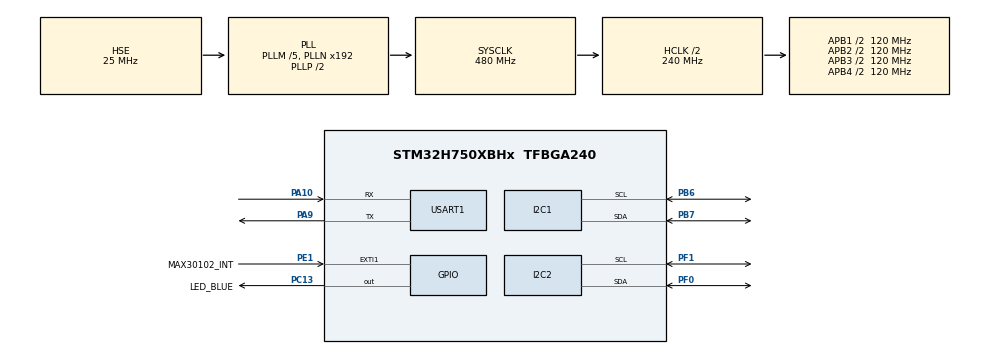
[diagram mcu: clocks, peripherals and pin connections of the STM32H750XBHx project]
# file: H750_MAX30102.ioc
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I2C1.Timing=0x307075B1
I2C2.Timing=0x307075B1
Mcu.Family=STM32H7
Mcu.Name=STM32H750XBHx
Mcu.Package=TFBGA240
NVIC.EXTI1_IRQn=true\:1\:0\:true\:false\:true\:true\:true\:true
NVIC.I2C1_ER_IRQn=true\:2\:0\:true\:false\:true\:true\:true\:true
NVIC.I2C2_ER_IRQn=true\:2\:0\:true\:false\:true\:true\:true\:true
NVIC.PriorityGroup=NVIC_PRIORITYGROUP_4
NVIC.TIM3_IRQn=true\:4\:0\:true\:false\:true\:true\:true\:true
NVIC.USART1_IRQn=true\:3\:0\:true\:false\:true\:true\:true\:true
PA10.Mode=Asynchronous
PA10.Signal=USART1_RX
PA13\ (JTMS/SWDIO).Mode=Serial_Wire
PA13\ (JTMS/SWDIO).Signal=DEBUG_JTMS-SWDIO
PA14\ (JTCK/SWCLK).Mode=Serial_Wire
PA14\ (JTCK/SWCLK).Signal=DEBUG_JTCK-SWCLK
PA9.Mode=Asynchronous
PA9.Signal=USART1_TX
PB6.Mode=I2C
PB6.Signal=I2C1_SCL
PB7.Mode=I2C
PB7.Signal=I2C1_SDA
PC13.GPIO_Label=LED_BLUE
PC13.GPIO_PuPd=GPIO_PULLDOWN
PC13.Signal=GPIO_Output
PE1.GPIO_Label=MAX30102_INT
PE1.GPIO_ModeDefaultEXTI=GPIO_MODE_IT_FALLING
PE1.GPIO_PuPd=GPIO_PULLUP
PE1.Signal=GPXTI1
PF0.Mode=I2C
PF0.Signal=I2C2_SDA
PF1.Mode=I2C
PF1.Signal=I2C2_SCL
PH0-OSC_IN\ (PH0).Mode=HSE-External-Oscillator
PH0-OSC_IN\ (PH0).Signal=RCC_OSC_IN
PH1-OSC_OUT\ (PH1).Mode=HSE-External-Oscillator
PH1-OSC_OUT\ (PH1).Signal=RCC_OSC_OUT
ProjectManager.HeapSize=0x800
ProjectManager.StackSize=0x1000
ProjectManager.TargetToolchain=MDK-ARM V5.32
RCC.ADCFreq_Value=50390625
RCC.APB1Freq_Value=120000000
RCC.APB2Freq_Value=120000000
RCC.APB3Freq_Value=120000000
RCC.APB4Freq_Value=120000000
RCC.CortexFreq_Value=480000000
RCC.D1PPRE=RCC_APB3_DIV2
RCC.D2PPRE1=RCC_APB1_DIV2
RCC.D2PPRE2=RCC_APB2_DIV2
RCC.D3PPRE=RCC_APB4_DIV2
RCC.DIVM1=5
RCC.DIVN1=192
RCC.HCLKFreq_Value=240000000
RCC.HPRE=RCC_HCLK_DIV2
RCC.PLLFRACN=0
RCC.PLLSourceVirtual=RCC_PLLSOURCE_HSE
RCC.PWR_Regulator_Voltage_Scale=PWR_REGULATOR_VOLTAGE_SCALE0
RCC.ProductRev=revV
RCC.SYSCLKFreq_VALUE=480000000
RCC.SYSCLKSource=RCC_SYSCLKSOURCE_PLLCLK
RCC.USBFreq_Value=480000000
TIM3.Period=1000-1
TIM3.Prescaler=240-1
USART1.VirtualMode-Asynchronous=VM_ASYNC
VP_TIM3_VS_ClockSourceINT.Mode=Internal
board=custom

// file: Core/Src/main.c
/* USER CODE BEGIN Header */
/**
  ******************************************************************************
  * @file           : main.c
  * @brief          : Main program body
  ******************************************************************************
  * @attention
  *
  * Copyright (c) 2023 STMicroelectronics.
  * All rights reserved.
  *
  * This software is licensed under terms that can be found in the LICENSE file
  * in the root directory of this software component.
  * If no LICENSE file comes with this software, it is provided AS-IS.
  *
  ******************************************************************************
  */
/* USER CODE END Header */
#include "main.h"
#include "i2c.h"
#include "tim.h"
#include "usart.h"
#include "gpio.h"

/* USER CODE BEGIN Includes */

#include "max30102_for_stm32_hal.h"
#include "oled_i2c.h"
#include "ring_buffer.h"
#include "algorithm_by_RF.h"

/* USER CODE END Includes */

/* USER CODE BEGIN PV */

max30102_t max30102;
RingBuff_t ringBuffer_ir, ringBuffer_red;
calculated_data_t cal_data = {0, 0, 0, 0, 0, 0};
uint8_t buff_not_full_count = 0;

/* USER CODE END PV */

void SystemClock_Config(void);
/* USER CODE BEGIN PFP */

// Override plot function
void max30102_plot(uint32_t ir_sample, uint32_t red_sample)
{
  RingBuff_Write(&ringBuffer_ir, ir_sample);
  RingBuff_Write(&ringBuffer_red, red_sample);
#if SENSOR_DATA_PRINT
  u1_printf("ir,r:%u,%u\n", ir_sample, red_sample); // Print IR and Red
#endif
}

// Config MAX30102
void max30102_user_config(void)
{
  // Initiation
  max30102_init(&max30102, &hi2c1);
  max30102_reset(&max30102);
  max30102_clear_fifo(&max30102);
  max30102_set_fifo_config(&max30102, max30102_smp_ave_8, 0, 7);

  // Sensor settings
  max30102_set_led_pulse_width(&max30102, max30102_pw_16_bit);
  max30102_set_adc_resolution(&max30102, max30102_adc_2048);
  max30102_set_sampling_rate(&max30102, max30102_sr_800);
  max30102_set_led_current_1(&max30102, 4.2);
  max30102_set_led_current_2(&max30102, 4.2);

  // Enter SpO2 mode
  max30102_set_mode(&max30102, max30102_spo2);
  max30102_set_a_full(&max30102, 1);

  // Initiate 1 temperature measurement
  max30102_set_die_temp_en(&max30102, 1);
  max30102_set_die_temp_rdy(&max30102, 1);

  uint8_t en_reg[2] = {0};
  max30102_read(&max30102, 0x00, en_reg, 1);
}

void timer_event_handler(void)
{
  if (RingBuff_CheckFull(&ringBuffer_ir) && RingBuff_CheckFull(&ringBuffer_red))
  {
    buff_not_full_count = 0;
  }
  else // 处理缓冲区没填满的情况
  {
    buff_not_full_count++;        // 记录没填满的次数
    if (buff_not_full_count >= 3) // 7 * 3 = 21s 如果填不满时间超过9s, 则作出处理
    {
      RingBuff_Clear(&ringBuffer_ir);
      RingBuff_Clear(&ringBuffer_red);
      buff_not_full_count = 0;
      u1_printf("(DBG:) [WARN] Buffer_not_full TIMEOUT. Set max30102 interrupt flag = 1\n");
      max30102._interrupt_flag = 1; // 重新设置模块 以防模块死机
    }
  }

  if (!(cal_data.spo2_valid && cal_data.heart_rate_valid))
  {
    OLED_Customized_Show(&cal_data, 1); // 数据长时间无效时切换屏幕
  }
}

/* USER CODE END PFP */

int main(void)
{

  /* MCU Configuration--------------------------------------------------------*/

  /* Reset of all peripherals, Initializes the Flash interface and the Systick. */
  HAL_Init();

  /* Configure the system clock */
  SystemClock_Config();

  /* Initialize all configured peripherals */
  MX_GPIO_Init();
  MX_I2C1_Init();
  MX_I2C2_Init();
  MX_TIM3_Init();
  MX_USART1_UART_Init();
  /* USER CODE BEGIN 2 */

  u1_printf("(DBG:) System Enabled.\n");

  OLED_Init();
  OLED_CLS();
  OLED_Customized_Show(&cal_data, 1);
  RingBuff_Clear(&ringBuffer_ir);
  RingBuff_Clear(&ringBuffer_red);
  max30102_user_config();
  HAL_TIM_Base_Start_IT(&htim3);

  /* USER CODE END 2 */

  /* Infinite loop */
  /* USER CODE BEGIN WHILE */
  while (1)
  {

    if (max30102_has_interrupt(&max30102))
    {
      max30102_interrupt_handler(&max30102);
    }

    if (RingBuff_CheckFull(&ringBuffer_ir) && RingBuff_CheckFull(&ringBuffer_red))
    {
      buff_not_full_count = 0;
#if BUFFER_DATA_PRINT
      for (uint16_t k = 0; k < RINGBUFF_LEN; ++k)
      {
        u1_printf("ir,red:%u,%u\n", ringBuffer_ir.Ring_data[k], ringBuffer_red.Ring_data[k]);
      }
#endif
      // Calculate
      rf_heart_rate_and_oxygen_saturation(
          ringBuffer_ir.Ring_data, RINGBUFF_LEN, ringBuffer_red.Ring_data, &(cal_data.spo2), &(cal_data.spo2_valid),
          &(cal_data.heart_rate), &(cal_data.heart_rate_valid), &(cal_data.ratio), &(cal_data.correl));

      // Print
      u1_printf(
          "(DBG:) SpO2 %4.3f, Hr %4d, SpO2_v %d, Hr_v %d, Ratio %2.2f, Correl %2.2f\n",
          cal_data.spo2, cal_data.heart_rate, cal_data.spo2_valid, cal_data.heart_rate_valid,
          cal_data.ratio, cal_data.correl);

      // OLED Show
      if (cal_data.spo2_valid && cal_data.heart_rate_valid)
      {
        OLED_Customized_Show(&cal_data, 2);
      }

      RingBuff_Clear(&ringBuffer_ir);
      RingBuff_Clear(&ringBuffer_red);
    }

    if (HAL_GPIO_ReadPin(MAX30102_INT_GPIO_Port, MAX30102_INT_Pin) == GPIO_PIN_RESET)
    {
      // u1_printf("(DBG:) Detect MAX30102 INT low evel\n");
      max30102._interrupt_flag = 1;
    }

    // u1_printf("(DBG:) loop.\n");

    /* USER CODE END WHILE */

  }
}

void SystemClock_Config(void)
{
  RCC_OscInitTypeDef RCC_OscInitStruct = {0};
  RCC_ClkInitTypeDef RCC_ClkInitStruct = {0};

  /** Supply configuration update enable
  */
  HAL_PWREx_ConfigSupply(PWR_LDO_SUPPLY);

  /** Configure the main internal regulator output voltage
  */
  __HAL_PWR_VOLTAGESCALING_CONFIG(PWR_REGULATOR_VOLTAGE_SCALE1);

  while(!__HAL_PWR_GET_FLAG(PWR_FLAG_VOSRDY)) {}

  __HAL_RCC_SYSCFG_CLK_ENABLE();
  __HAL_PWR_VOLTAGESCALING_CONFIG(PWR_REGULATOR_VOLTAGE_SCALE0);

  while(!__HAL_PWR_GET_FLAG(PWR_FLAG_VOSRDY)) {}

  /** Initializes the RCC Oscillators according to the specified parameters
  * in the RCC_OscInitTypeDef structure.
  */
  RCC_OscInitStruct.OscillatorType = RCC_OSCILLATORTYPE_HSE;
  RCC_OscInitStruct.HSEState = RCC_HSE_ON;
  RCC_OscInitStruct.PLL.PLLState = RCC_PLL_ON;
  RCC_OscInitStruct.PLL.PLLSource = RCC_PLLSOURCE_HSE;
  RCC_OscInitStruct.PLL.PLLM = 5;
  RCC_OscInitStruct.PLL.PLLN = 192;
  RCC_OscInitStruct.PLL.PLLP = 2;
  RCC_OscInitStruct.PLL.PLLQ = 2;
  RCC_OscInitStruct.PLL.PLLR = 2;
  RCC_OscInitStruct.PLL.PLLRGE = RCC_PLL1VCIRANGE_2;
  RCC_OscInitStruct.PLL.PLLVCOSEL = RCC_PLL1VCOWIDE;
  RCC_OscInitStruct.PLL.PLLFRACN = 0;
  if (HAL_RCC_OscConfig(&RCC_OscInitStruct) != HAL_OK)
  {
    Error_Handler();
  }

  /** Initializes the CPU, AHB and APB buses clocks
  */
  RCC_ClkInitStruct.ClockType = RCC_CLOCKTYPE_HCLK|RCC_CLOCKTYPE_SYSCLK
                              |RCC_CLOCKTYPE_PCLK1|RCC_CLOCKTYPE_PCLK2
                              |RCC_CLOCKTYPE_D3PCLK1|RCC_CLOCKTYPE_D1PCLK1;
  RCC_ClkInitStruct.SYSCLKSource = RCC_SYSCLKSOURCE_PLLCLK;
  RCC_ClkInitStruct.SYSCLKDivider = RCC_SYSCLK_DIV1;
  RCC_ClkInitStruct.AHBCLKDivider = RCC_HCLK_DIV2;
  RCC_ClkInitStruct.APB3CLKDivider = RCC_APB3_DIV2;
  RCC_ClkInitStruct.APB1CLKDivider = RCC_APB1_DIV2;
  RCC_ClkInitStruct.APB2CLKDivider = RCC_APB2_DIV2;
  RCC_ClkInitStruct.APB4CLKDivider = RCC_APB4_DIV2;

  if (HAL_RCC_ClockConfig(&RCC_ClkInitStruct, FLASH_LATENCY_4) != HAL_OK)
  {
    Error_Handler();
  }
}

void Error_Handler(void)
{
  __disable_irq();
  while (1)
  {
  }
}
